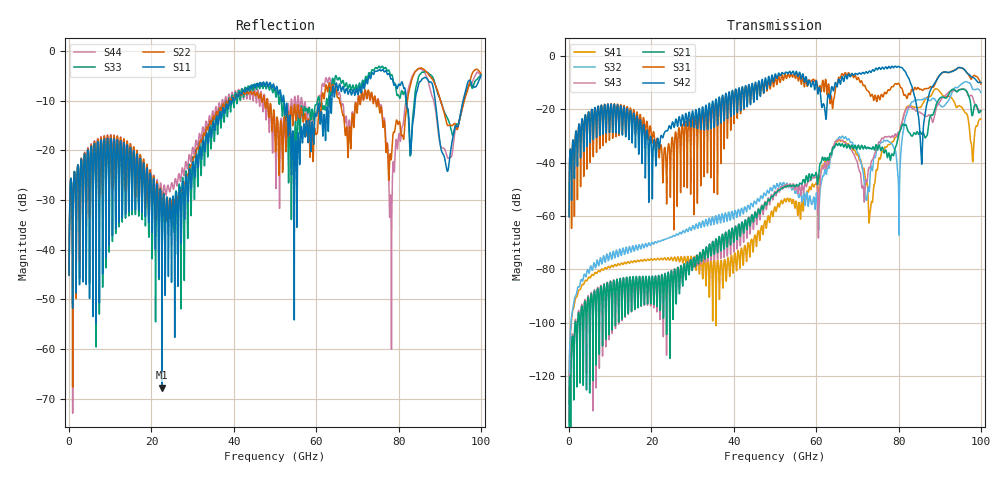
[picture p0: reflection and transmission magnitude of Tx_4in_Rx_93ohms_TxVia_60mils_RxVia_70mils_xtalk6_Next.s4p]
! Info: Touchstone file created by Circ.  Input file=Tx_4in_Rx_93ohms_TxVia_60mils_RxVia_70mils.circ
# Hz S RI R 50
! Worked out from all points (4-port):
!   10000 points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, 10 MHz to 100 GHz, reference 50 ohm
!   strongest paths, dB at 10 MHz, 25.01 GHz, 50.01 GHz, 75.01 GHz, 100 GHz:
!     S42: -60.3, -25.3, -7.0, -5.0, -10.0
!     S31: -60.3, -30.6, -8.3, -14.9, -10.6
!     S21: -139.3, -82.4, -51.4, -34.7, -20.6
!     S43: -137.2, -82.6, -50.8, -33.4, -20.8
!     S32: -130.3, -67.9, -49.7, -34.5, -13.7
!     S41: -130.3, -76.1, -56.6, -40.9, -23.7
!   lowest |S11| = -67.8 dB at 22.56 GHz (marker M1), VSWR 1.00, Z = 50 - j0.0356 ohm
!   |S11| at or under -10 dB: start of sweep to 38.99 GHz; 52.21 GHz to 63.2 GHz (10.99 GHz wide, 19 % of centre); 88.91 GHz to 95.7 GHz (6.791 GHz wide, 7.36 % of centre) (the widest 3 of 7)
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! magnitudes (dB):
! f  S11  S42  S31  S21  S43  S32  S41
! 10 MHz  -45.0  -60.3  -60.3  -139.3  -137.2  -130.3  -130.3
! 8.23 GHz  -28.0  -29.3  -33.6  -92.7  -93.0  -75.8  -80.3
! 22.56 GHz  -67.8  -30.4  -36.8  -82.1  -82.1  -69.1  -76.1
! 62.83 GHz  -14.1  -14.9  -12.5  -38.4  -39.7  -41.2  -39.1
! 78.1 GHz  -5.6  -4.6  -12.2  -38.9  -30.7  -32.7  -32.9
! 85.56 GHz  -5.9  -38.4  -12.6  -29.4  -21.5  -16.6  -18.9
! 100 GHz  -5.0  -10.0  -10.6  -20.6  -20.8  -13.7  -23.7
